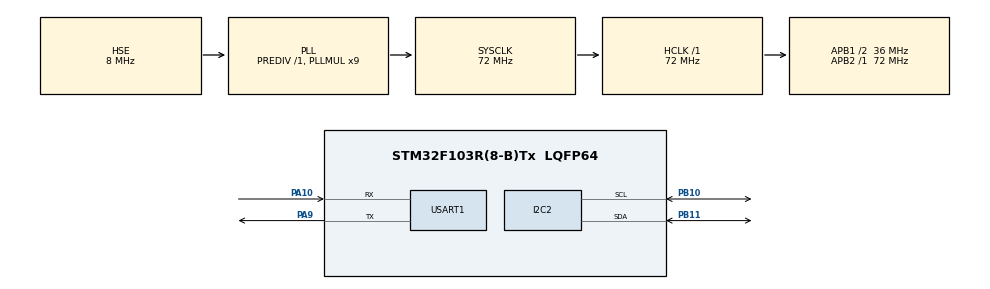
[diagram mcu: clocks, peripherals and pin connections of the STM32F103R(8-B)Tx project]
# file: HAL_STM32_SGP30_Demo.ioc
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Mcu.Family=STM32F1
Mcu.Name=STM32F103R(8-B)Tx
Mcu.Package=LQFP64
NVIC.PriorityGroup=NVIC_PRIORITYGROUP_4
PA10.Mode=Asynchronous
PA10.Signal=USART1_RX
PA13.Mode=Serial_Wire
PA13.Signal=SYS_JTMS-SWDIO
PA14.Mode=Serial_Wire
PA14.Signal=SYS_JTCK-SWCLK
PA9.Mode=Asynchronous
PA9.Signal=USART1_TX
PB10.Mode=I2C
PB10.Signal=I2C2_SCL
PB11.Mode=I2C
PB11.Signal=I2C2_SDA
PD0-OSC_IN.Mode=HSE-External-Oscillator
PD0-OSC_IN.Signal=RCC_OSC_IN
PD1-OSC_OUT.Mode=HSE-External-Oscillator
PD1-OSC_OUT.Signal=RCC_OSC_OUT
ProjectManager.HeapSize=0x0
ProjectManager.StackSize=0x400
ProjectManager.TargetToolchain=MDK-ARM V5
RCC.AHBFreq_Value=72000000
RCC.APB1CLKDivider=RCC_HCLK_DIV2
RCC.APB1Freq_Value=36000000
RCC.APB1TimFreq_Value=72000000
RCC.APB2Freq_Value=72000000
RCC.APB2TimFreq_Value=72000000
RCC.HCLKFreq_Value=72000000
RCC.PLLMUL=RCC_PLL_MUL9
RCC.PLLSourceVirtual=RCC_PLLSOURCE_HSE
RCC.SYSCLKFreq_VALUE=72000000
RCC.SYSCLKSource=RCC_SYSCLKSOURCE_PLLCLK
RCC.USBFreq_Value=72000000
USART1.VirtualMode=VM_ASYNC
board=custom

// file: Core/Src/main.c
/* USER CODE BEGIN Header */
/**
  ******************************************************************************
  * @file           : main.c
  * @brief          : Main program body
  ******************************************************************************
  * @attention
  *
  * <h2><center>&copy; Copyright (c) 2021 STMicroelectronics.
  * All rights reserved.</center></h2>
  *
  * This software component is licensed by ST under BSD 3-Clause license,
  * the "License"; You may not use this file except in compliance with the
  * License. You may obtain a copy of the License at:
  *                        opensource.org/licenses/BSD-3-Clause
  *
  ******************************************************************************
  */
/* USER CODE END Header */
#include "main.h"
#include "i2c.h"
#include "usart.h"
#include "gpio.h"

/* USER CODE BEGIN Includes */
#include <stdio.h>
#include "sgp30.h"
/* USER CODE END Includes */

void SystemClock_Config(void);

/* USER CODE BEGIN 0 */

int fputc(int ch, FILE* fp)
{
    HAL_UART_Transmit(&huart1, (uint8_t *)&ch, 1, HAL_MAX_DELAY);
    return ch;
}

int main(void)
{
    uint16_t TVOC = 0, CO2 = 0;
	uint8_t ID[6]={0};
    HAL_Init();
    SystemClock_Config();
    MX_GPIO_Init();
    MX_USART1_UART_Init();

    printf("\r\n\r\n########################  SGP30 STM32 Demo ########################\r\n\r\n");

    while(sgp30_init() < 0)
    {
        printf(" sgp30 init fail\r\n");
        HAL_Delay(1000);
    }

	printf(" sgp30 init ok\r\n");

	if(sgp30_get_serial_id(ID) < 0)
	{
		printf(" sgp30 read serial id failed\r\n");
	}else
	{
		printf(" sgp30 read serial id is:");
		for(int i = 0; i < 6; i++)  printf("%02X", ID[i]);
		printf("\r\n");
	}

	//
    // SGP30模块开机需要一定时间初始化，在初始化阶段读取的CO2浓度为400ppm，TVOC为0ppd且恒定不变。
	// 因此上电后每隔一段时间读取一次SGP30模块的值，如果CO2浓度为400ppm，TVOC为0ppd，直到SGP30模块初始化完成。
    // 初始化完成后刚开始读出数据会波动比较大，属于正常现象，一段时间后会逐渐趋于稳定。
    // 气体类传感器比较容易受环境影响，测量数据出现波动是正常的，可自行添加滤波函数。
	//

	printf(" sgp30 wait air for init");
	do
	{
		if(sgp30_read(&CO2, &TVOC) < 0)
		{
			printf("\r\n spg30 read failed");
		}else
		{
			printf(".");
		}
		HAL_Delay(500);
	}while(TVOC == 0 && CO2 == 400);

	printf("\r\n");

    while (1)
    {
        if(sgp30_read(&CO2, &TVOC) < 0)
        {
            printf(" sgp30 read fail\r\n");
        }
        else
        {
            printf(" CO2:%5dppm        TVOC:%5dppb\r\n", CO2, TVOC);
        }
        HAL_Delay(1000);
    }
}

/* USER CODE END 0 */

int main2(void)
{

    /* MCU Configuration--------------------------------------------------------*/

    /* Reset of all peripherals, Initializes the Flash interface and the Systick. */
    HAL_Init();

    /* Configure the system clock */
    SystemClock_Config();

    /* Initialize all configured peripherals */
    MX_GPIO_Init();
    MX_I2C2_Init();
    MX_USART1_UART_Init();

    /* Infinite loop */
    while (1)
    {

    }
}

void SystemClock_Config(void)
{
    RCC_OscInitTypeDef RCC_OscInitStruct = {0};
    RCC_ClkInitTypeDef RCC_ClkInitStruct = {0};

    /** Initializes the RCC Oscillators according to the specified parameters
    * in the RCC_OscInitTypeDef structure.
    */
    RCC_OscInitStruct.OscillatorType = RCC_OSCILLATORTYPE_HSE;
    RCC_OscInitStruct.HSEState = RCC_HSE_ON;
    RCC_OscInitStruct.HSEPredivValue = RCC_HSE_PREDIV_DIV1;
    RCC_OscInitStruct.HSIState = RCC_HSI_ON;
    RCC_OscInitStruct.PLL.PLLState = RCC_PLL_ON;
    RCC_OscInitStruct.PLL.PLLSource = RCC_PLLSOURCE_HSE;
    RCC_OscInitStruct.PLL.PLLMUL = RCC_PLL_MUL9;
    if (HAL_RCC_OscConfig(&RCC_OscInitStruct) != HAL_OK)
    {
        Error_Handler();
    }
    /** Initializes the CPU, AHB and APB buses clocks
    */
    RCC_ClkInitStruct.ClockType = RCC_CLOCKTYPE_HCLK|RCC_CLOCKTYPE_SYSCLK
                                  |RCC_CLOCKTYPE_PCLK1|RCC_CLOCKTYPE_PCLK2;
    RCC_ClkInitStruct.SYSCLKSource = RCC_SYSCLKSOURCE_PLLCLK;
    RCC_ClkInitStruct.AHBCLKDivider = RCC_SYSCLK_DIV1;
    RCC_ClkInitStruct.APB1CLKDivider = RCC_HCLK_DIV2;
    RCC_ClkInitStruct.APB2CLKDivider = RCC_HCLK_DIV1;

    if (HAL_RCC_ClockConfig(&RCC_ClkInitStruct, FLASH_LATENCY_2) != HAL_OK)
    {
        Error_Handler();
    }
}

void Error_Handler(void)
{
    __disable_irq();
    while (1)
    {
    }
}

/************************ (C) COPYRIGHT STMicroelectronics *****END OF FILE****/
